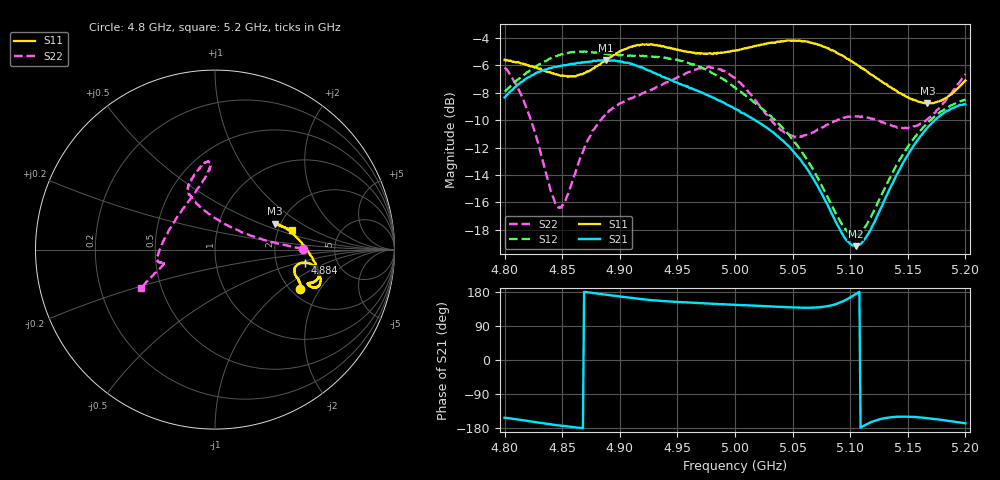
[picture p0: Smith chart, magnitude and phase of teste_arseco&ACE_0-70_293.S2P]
! Network Analyzer HP8722D
! Hewlett-Packard
! Data name: Linha & Wilkinson
! Saver's name: Rodrigo Anjos
! Comments: Teste da utilização de aquisição
! continua pelo VNA HP8722D
! Time and date: 8/5/2025 15:12
!  Frequency  S11  S21  S12  S22
# HZ  S  MA R 50
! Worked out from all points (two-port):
!   401 points, 4.8 GHz to 5.2 GHz, reference 50 ohm
!   highest |S21| = -5.63 dB at 4.888 GHz (marker M1); lowest = -19.2 dB at 5.105 GHz (marker M2)
!   |S21| within 3 dB of the highest: start of sweep to 4.988 GHz
!   lowest |S11| = -8.8 dB at 5.167 GHz (marker M3), VSWR 2.14, Z = 93.4 + j31 ohm
!   |S11| at or under -10 dB: nowhere
!   |S22| runs from -16.4 to -6.1 dB; largest |S21 - S12| = 1.1
!   S11 on the Smith chart (normalised r, x): 4.8 GHz: 2.24, -1.36; 4.884 GHz: 2.95, -0.57; 5.2 GHz: 2.36, +0.65
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4.8e9  0.5241 -24.9  0.3821 -152.5  0.4018 7.1  0.4909 0.4
4.818e9  0.5035 -20.9  0.4454 -159.9  0.4656 4.5  0.3587 5.3
4.84e9  0.4708 -17.6  0.4895 -169.6  0.5303 1.1  0.1749 34.2
4.846e9  0.4628 -16.2  0.4952 -172.2  0.5422 -0.2  0.1534 55.5
4.853e9  0.4574 -14.7  0.5005 -174.7  0.5547 -1.2  0.1614 80.7
4.867e9  0.4635 -10.8  0.5138 -179.6  0.5608 -3.4  0.237 106.9
4.884e9  0.509 -8.1  0.5209 174.1  0.5526 -4.3  0.3175 114.0
4.888e9  0.5233 -8.2  0.5229 172.5  0.5504 -4.5  0.3322 114.6
4.913e9  0.5893 -12.2  0.5011 162.5  0.5418 -3.4  0.3858 112.7
4.934e9  0.5901 -17.0  0.4617 156.3  0.5368 -4.3  0.4199 107.2
4.976e9  0.5519 -20.0  0.39 149.4  0.4794 -8.0  0.4922 94.8
5e9  0.5662 -20.9  0.3472 145.5  0.4165 -7.5  0.4498 94.2
5.042e9  0.6122 -19.1  0.2649 139.9  0.294 0.2  0.287 129.8
5.067e9  0.6041 -14.2  0.1964 138.2  0.2119 8.4  0.2847 165.1
5.094e9  0.5407 -4.2  0.1203 155.3  0.1297 35.3  0.3227 -173.1
5.105e9  0.5058 1.0  0.1098 174.6  0.1206 56.8  0.326 -169.8
5.116e9  0.4703 6.7  0.1226 -167.0  0.1354 76.9  0.3219 -167.7
5.134e9  0.4189 15.6  0.1764 -151.4  0.1931 94.2  0.3041 -166.5
5.151e9  0.3802 21.7  0.2396 -149.8  0.2565 98.6  0.2968 -164.9
5.167e9  0.3633 23.3  0.2959 -153.6  0.3087 99.3  0.3183 -161.7
5.182e9  0.3786 21.0  0.3376 -159.2  0.3464 99.2  0.3678 -157.9
5.2e9  0.4407 14.6  0.3609 -167.0  0.3758 99.7  0.4651 -152.3
